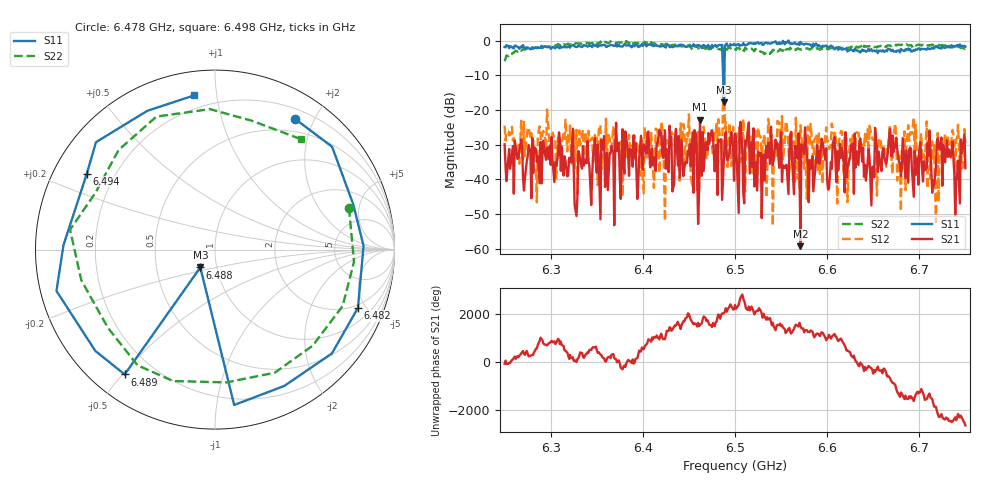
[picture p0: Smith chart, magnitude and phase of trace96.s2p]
# Hz S RI R 50
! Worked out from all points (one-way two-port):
!   401 points, 6.25 GHz to 6.75 GHz, reference 50 ohm
!   highest |S21| = -22.82 dB at 6.462 GHz (marker M1); lowest = -59.2 dB at 6.571 GHz (marker M2)
!   lowest |S11| = -17.8 dB at 6.488 GHz (marker M3), VSWR 1.30, Z = 41.7 - j8.41 ohm
!   |S11| at or under -10 dB: 6.48706 GHz to 6.488474 GHz (1.414 MHz wide, 0.0218 % of centre)
!   |S22| runs from -5.9 to -0.1 dB; largest |S21 - S12| = 0.71
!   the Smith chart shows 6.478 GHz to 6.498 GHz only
!   S11 on the Smith chart (normalised r, x): 6.478 GHz: 0.33, +1.75; 6.482 GHz: 1.78, -4.42; 6.488 GHz: 0.83, -0.17; 6.489 GHz: 0.10, -0.51; 6.494 GHz: 0.10, +0.27; 6.498 GHz: 0.13, +0.87
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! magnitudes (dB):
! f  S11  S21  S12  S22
! 6.25 GHz  -1.8  -29.9  -24.5  -5.9
! 6.282 GHz  -2.2  -30.7  -37.6  -2.0
! 6.294 GHz  -1.6  -33.0  -28.1  -1.7
! 6.328 GHz  -1.9  -50.5  -25.7  -0.7
! 6.334 GHz  -1.8  -36.9  -27.1  -1.0
! 6.418 GHz  -1.7  -25.7  -38.1  -1.1
! 6.462 GHz  -1.4  -22.8  -35.8  -2.0
! 6.478 GHz  -1.4  -37.6  -26.3  -2.1
! 6.482 GHz  -1.3  -28.5  -22.6  -2.4
! 6.488 GHz  -17.8  -34.1  -2.7  -2.6
! 6.489 GHz  -1.3  -28.1  -25.3  -2.3
! 6.494 GHz  -1.6  -32.6  -23.7  -1.8
! 6.498 GHz  -1.2  -31.2  -24.8  -2.2
! 6.5 GHz  -1.2  -26.8  -31.6  -2.4
! 6.571 GHz  -0.4  -59.2  -24.4  -2.5
! 6.584 GHz  -1.9  -33.3  -30.5  -2.1
! 6.668 GHz  -2.4  -25.5  -24.2  -1.4
! 6.679 GHz  -3.4  -35.2  -33.6  -1.2
! 6.691 GHz  -3.1  -31.2  -26.4  -1.2
! 6.72 GHz  -1.7  -28.1  -26.6  -1.2
! 6.741 GHz  -1.2  -39.0  -27.8  -2.2
! 6.75 GHz  -1.8  -36.8  -29.5  -2.1
